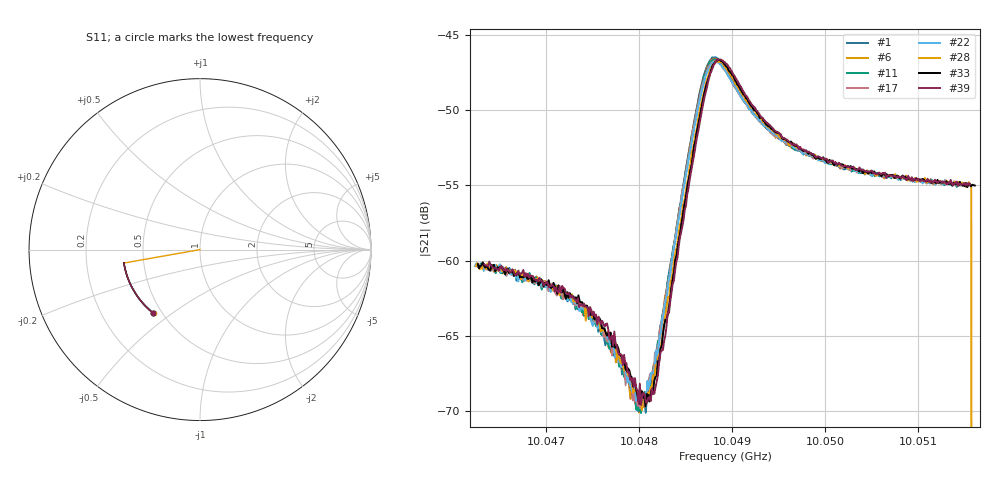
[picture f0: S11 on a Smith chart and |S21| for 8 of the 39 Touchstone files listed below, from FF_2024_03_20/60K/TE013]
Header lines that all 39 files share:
#  HZ  S  RI  R  50.00
! Rohde & Schwarz Vector Network Analyzer
! Rohde-Schwarz,ZNB20-2Port,1311601062101988,3.16
! freq[Hz]  re:S11  im:S11  re:S21  im:S21  re:S12  im:S12  re:S22  im:S22
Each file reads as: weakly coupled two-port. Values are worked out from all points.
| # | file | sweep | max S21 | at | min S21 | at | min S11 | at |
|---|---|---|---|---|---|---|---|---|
| 1 | 320_3_57.9997_59.0668488_84216.906_869.1337532997131_.s2p | 10.04634 GHz to 10.05143 GHz | -46.50 dB | 10.04882 GHz | -70.1 dB | 10.04807 GHz | -6.9 dB | 10.05141 GHz |
| 2 | 321_3_58.0001_59.0668488_84468.422_871.53240275383_.s2p | 10.04636 GHz to 10.05141 GHz | -46.51 dB | 10.04881 GHz | -70.4 dB | 10.04805 GHz | -6.9 dB | 10.05133 GHz |
| 3 | 322_3_58.0002_59.0690346_84720.781_873.9196035861969_.s2p | 10.04634 GHz to 10.05142 GHz | -46.55 dB | 10.04882 GHz | -70.3 dB | 10.04806 GHz | -6.9 dB | 10.05142 GHz |
| 4 | 323_3_58.0002_59.0673027_84952.922_876.3225128650665_.s2p | 10.04633 GHz to 10.05144 GHz | -46.52 dB | 10.04882 GHz | -69.9 dB | 10.04804 GHz | -6.9 dB | 10.05144 GHz |
| 5 | 324_3_58.0002_59.0685844_85174.391_878.7268867492676_.s2p | 10.04638 GHz to 10.05138 GHz | -46.58 dB | 10.0488 GHz | -69.8 dB | 10.04804 GHz | -6.9 dB | 10.05112 GHz |
| 6 | 325_3_58.0_59.0687637_85446.531_881.1236944198608_.s2p | 10.04627 GHz to 10.05151 GHz | -46.57 dB | 10.04881 GHz | -70.1 dB | 10.048 GHz | -6.9 dB | 10.05145 GHz |
| 7 | 326_3_57.9999_59.0680313_85687.766_883.5603234767914_.s2p | 10.0463 GHz to 10.05148 GHz | -46.63 dB | 10.0488 GHz | -70.5 dB | 10.04806 GHz | -6.9 dB | 10.05144 GHz |
| 8 | 327_3_58.0001_59.0700378_85930.242_886.0027544498444_.s2p | 10.0463 GHz to 10.05147 GHz | -46.63 dB | 10.04882 GHz | -70.2 dB | 10.04804 GHz | -6.9 dB | 10.05146 GHz |
| 9 | 328_3_58.0001_59.0700378_86192.438_888.422739982605_.s2p | 10.04627 GHz to 10.05151 GHz | -46.62 dB | 10.04881 GHz | -69.7 dB | 10.04805 GHz | -6.9 dB | 10.05135 GHz |
| 10 | 329_3_57.9997_59.0720482_86434.469_890.8622789382935_.s2p | 10.0463 GHz to 10.05147 GHz | -46.60 dB | 10.04881 GHz | -70.3 dB | 10.048 GHz | -6.9 dB | 10.05142 GHz |
| 11 | 330_3_58.0004_59.0694923_86666.352_893.2938249111176_.s2p | 10.04629 GHz to 10.05149 GHz | -46.65 dB | 10.0488 GHz | -70.1 dB | 10.04802 GHz | -6.9 dB | 10.05145 GHz |
| 12 | 331_3_57.9999_59.0700378_86897.867_895.6926558017731_.s2p | 10.04626 GHz to 10.05153 GHz | -46.65 dB | 10.04883 GHz | -69.9 dB | 10.04806 GHz | -6.9 dB | 10.05148 GHz |
| 13 | 333_3_57.9999_59.0723305_87381.773_900.5591523647308_.s2p | 10.04622 GHz to 10.05157 GHz | -46.71 dB | 10.04881 GHz | -69.8 dB | 10.04801 GHz | -6.9 dB | 10.0515 GHz |
| 14 | 334_3_58.0004_59.070961_87633.492_902.9939122200012_.s2p | 10.04625 GHz to 10.05153 GHz | -46.71 dB | 10.04881 GHz | -69.6 dB | 10.04798 GHz | -6.9 dB | 10.05152 GHz |
| 15 | 335_3_58.0004_59.0724144_87875.586_905.4044418334961_.s2p | 10.04625 GHz to 10.05154 GHz | -46.71 dB | 10.04881 GHz | -69.8 dB | 10.04801 GHz | -6.9 dB | 10.05152 GHz |
| 16 | 336_3_58.0_59.0751495_88137.328_907.8373274803162_.s2p | 10.04626 GHz to 10.05153 GHz | -46.73 dB | 10.04883 GHz | -69.9 dB | 10.04797 GHz | -6.9 dB | 10.0515 GHz |
| 17 | 337_3_58.0_59.0743332_88369.297_910.2364497184753_.s2p | 10.04626 GHz to 10.05153 GHz | -46.73 dB | 10.04883 GHz | -69.8 dB | 10.04801 GHz | -6.9 dB | 10.05151 GHz |
| 18 | 338_3_58.0007_59.0746078_88611.141_912.6590619087219_.s2p | 10.04625 GHz to 10.05154 GHz | -46.74 dB | 10.0488 GHz | -69.9 dB | 10.04803 GHz | -6.9 dB | 10.05147 GHz |
| 19 | 339_3_57.9996_59.0759735_88852.938_915.0841329097748_.s2p | 10.04624 GHz to 10.05155 GHz | -46.83 dB | 10.04883 GHz | -69.7 dB | 10.04803 GHz | -6.9 dB | 10.05155 GHz |
| 20 | 340_3_57.9996_59.0755157_89094.367_917.5171618461609_.s2p | 10.04619 GHz to 10.05161 GHz | -46.78 dB | 10.04881 GHz | -69.6 dB | 10.04802 GHz | -6.9 dB | 10.05161 GHz |
| 21 | 341_3_58.0002_59.0765953_90024.078_926.1187300682068_.s2p | 10.04625 GHz to 10.05154 GHz | -46.80 dB | 10.04883 GHz | -69.8 dB | 10.04802 GHz | -6.9 dB | 10.0515 GHz |
| 22 | 342_3_58.0002_59.078968_90000.578_928.5285665988922_.s2p | 10.04623 GHz to 10.05157 GHz | -46.78 dB | 10.04885 GHz | -69.4 dB | 10.04807 GHz | -6.9 dB | 10.05157 GHz |
| 23 | 343_3_57.9996_59.0805206_90000.555_930.9391710758209_.s2p | 10.04622 GHz to 10.05159 GHz | -46.83 dB | 10.04885 GHz | -69.8 dB | 10.04806 GHz | -6.9 dB | 10.05156 GHz |
| 24 | 344_3_57.9997_59.0792465_89871.438_933.3631980419159_.s2p | 10.04618 GHz to 10.05163 GHz | -46.81 dB | 10.04883 GHz | -69.9 dB | 10.04804 GHz | -6.9 dB | 10.05162 GHz |
| 25 | 345_3_57.9998_59.078331_89636.203_935.775844335556_.s2p | 10.04623 GHz to 10.05161 GHz | -46.85 dB | 10.04884 GHz | -69.7 dB | 10.04806 GHz | -6.9 dB | 10.05156 GHz |
| 26 | 346_3_57.9996_59.0805206_89411.242_938.2221164703369_.s2p | 10.04619 GHz to 10.05166 GHz | -46.78 dB | 10.04886 GHz | -69.8 dB | 10.04804 GHz | -6.9 dB | 10.05166 GHz |
| 27 | 347_3_57.9998_59.0812531_89183.258_940.6206018924713_.s2p | 10.04626 GHz to 10.05158 GHz | -46.75 dB | 10.04886 GHz | -69.3 dB | 10.04807 GHz | -6.9 dB | 10.05156 GHz |
| 28 | 348_3_58.0002_59.0810661_88933.977_943.0388820171356_.s2p | 10.04625 GHz to 10.05161 GHz | -46.77 dB | 10.04883 GHz | -69.9 dB | 10.04803 GHz | -6.9 dB | 10.0515 GHz |
| 29 | 349_3_57.9998_59.0819778_88694.898_945.4459900856018_.s2p | 10.04626 GHz to 10.05159 GHz | -46.78 dB | 10.04885 GHz | -69.7 dB | 10.04809 GHz | -6.9 dB | 10.05155 GHz |
| 30 | 350_3_57.9994_59.0823402_88465.445_947.8671057224274_.s2p | 10.04624 GHz to 10.05162 GHz | -46.76 dB | 10.04886 GHz | -69.8 dB | 10.04802 GHz | -6.9 dB | 10.05152 GHz |
| 31 | 351_3_57.9999_59.0813408_88205.734_950.2768199443817_.s2p | 10.04627 GHz to 10.05159 GHz | -46.70 dB | 10.04884 GHz | -69.4 dB | 10.04806 GHz | -6.9 dB | 10.05154 GHz |
| 32 | 352_3_58.0001_59.0813408_87966.453_952.700493812561_.s2p | 10.0463 GHz to 10.05156 GHz | -46.74 dB | 10.04887 GHz | -69.5 dB | 10.04806 GHz | -6.9 dB | 10.05153 GHz |
| 33 | 353_3_58.0007_59.0843468_87736.922_955.104731798172_.s2p | 10.04626 GHz to 10.05161 GHz | -46.69 dB | 10.04886 GHz | -69.7 dB | 10.04807 GHz | -6.9 dB | 10.05155 GHz |
| 34 | 354_3_58.0004_59.0825272_87497.367_957.5346496105194_.s2p | 10.04631 GHz to 10.05156 GHz | -46.69 dB | 10.04886 GHz | -70.0 dB | 10.04804 GHz | -6.9 dB | 10.05156 GHz |
| 35 | 355_3_58.0_59.0837097_87257.75_959.945422410965_.s2p | 10.04628 GHz to 10.0516 GHz | -46.69 dB | 10.04885 GHz | -69.3 dB | 10.04809 GHz | -6.9 dB | 10.0516 GHz |
| 36 | 356_3_57.9998_59.0864487_87007.633_962.3752999305725_.s2p | 10.04629 GHz to 10.05159 GHz | -46.64 dB | 10.04887 GHz | -69.9 dB | 10.04807 GHz | -6.9 dB | 10.05155 GHz |
| 37 | 357_3_57.9999_59.0844421_86748.211_964.8052098751068_.s2p | 10.04633 GHz to 10.05156 GHz | -46.62 dB | 10.04888 GHz | -69.7 dB | 10.04808 GHz | -6.9 dB | 10.05156 GHz |
| 38 | 358_3_57.999_59.0867195_86538.852_967.19473528862_.s2p | 10.04632 GHz to 10.05157 GHz | -46.62 dB | 10.04885 GHz | -70.0 dB | 10.04805 GHz | -6.9 dB | 10.05156 GHz |
| 39 | 359_3_57.9996_59.0874481_86278.977_969.6321063041687_.s2p | 10.04634 GHz to 10.05156 GHz | -46.61 dB | 10.04884 GHz | -69.6 dB | 10.04802 GHz | -6.9 dB | 10.05149 GHz |
